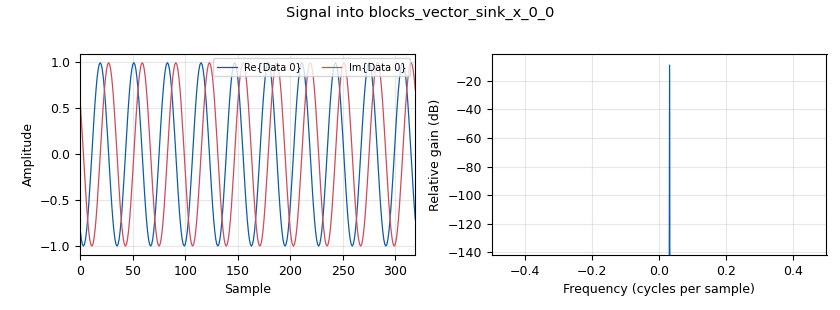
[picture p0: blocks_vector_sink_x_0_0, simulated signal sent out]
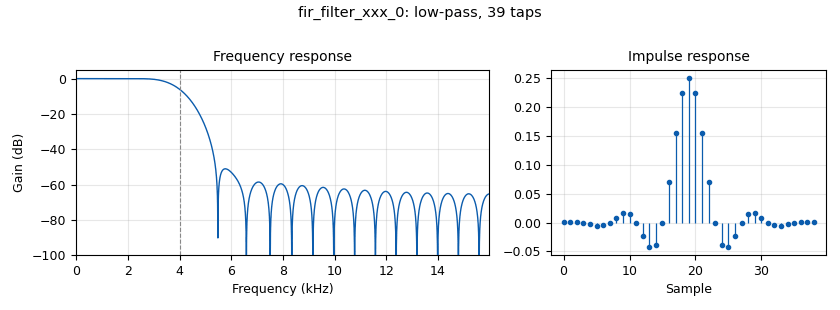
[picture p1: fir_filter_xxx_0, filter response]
options:
  parameters:
    generate_options: no_gui
    id: decFirFiltQa
    output_language: python
    run_options: run
    title: Decimating FIR Filter QA Design
  states: {}

blocks:
- name: samp_rate
  id: variable
  parameters:
    value: '32000'
  states: {}
- name: variable_low_pass_filter_taps_0
  id: variable_low_pass_filter_taps
  parameters:
    cutoff_freq: samp_rate/8
    gain: '1.0'
    samp_rate: samp_rate
    width: samp_rate/16
    win: window.WIN_HAMMING
  states: {}
- name: analog_sig_source_x_0
  id: analog_sig_source_x
  parameters:
    amp: '1'
    freq: '1000'
    offset: '0'
    phase: '0'
    samp_rate: samp_rate
    type: complex
    waveform: analog.GR_COS_WAVE
  states: {}
- name: blocks_head_0
  id: blocks_head
  parameters:
    num_items: samp_rate
    type: complex
  states: {}
- name: blocks_throttle_0
  id: blocks_throttle
  parameters:
    samples_per_second: samp_rate
    type: complex
  states: {}
- name: blocks_throttle_0_0
  id: blocks_throttle
  parameters:
    samples_per_second: samp_rate
    type: complex
  states: {}
- name: blocks_vector_sink_x_0
  id: blocks_vector_sink_x
  parameters:
    type: complex
  states: {}
- name: blocks_vector_sink_x_0_0
  id: blocks_vector_sink_x
  parameters:
    type: complex
  states: {}
- name: cudaCourse_cudaDecimatingFirFilter_0
  id: cudaCourse_cudaDecimatingFirFilter
  parameters:
    blockSize: '256'
    chunkSize: '1'
    decimationFactor: '1'
    taps: variable_low_pass_filter_taps_0
  states: {}
- name: cudaCourse_cudaTuner_0
  id: cudaCourse_cudaTuner
  parameters:
    blockSize: '256'
    chunkSize: '1'
    freq: '0'
    phase: '0.0'
    sampleRate: '32000'
  states: {}
- name: fir_filter_xxx_0
  id: fir_filter_xxx
  parameters:
    decim: '1'
    taps: variable_low_pass_filter_taps_0
    type: ccf
  states: {}

connections:
- [analog_sig_source_x_0, '0', blocks_head_0, '0']
- [blocks_head_0, '0', blocks_throttle_0, '0']
- [blocks_head_0, '0', blocks_throttle_0_0, '0']
- [blocks_throttle_0, '0', fir_filter_xxx_0, '0']
- [blocks_throttle_0_0, '0', cudaCourse_cudaTuner_0, '0']
- [cudaCourse_cudaDecimatingFirFilter_0, '0', blocks_vector_sink_x_0, '0']
- [cudaCourse_cudaTuner_0, '0', cudaCourse_cudaDecimatingFirFilter_0, '0']
- [fir_filter_xxx_0, '0', blocks_vector_sink_x_0_0, '0']

metadata:
  file_format: 1
